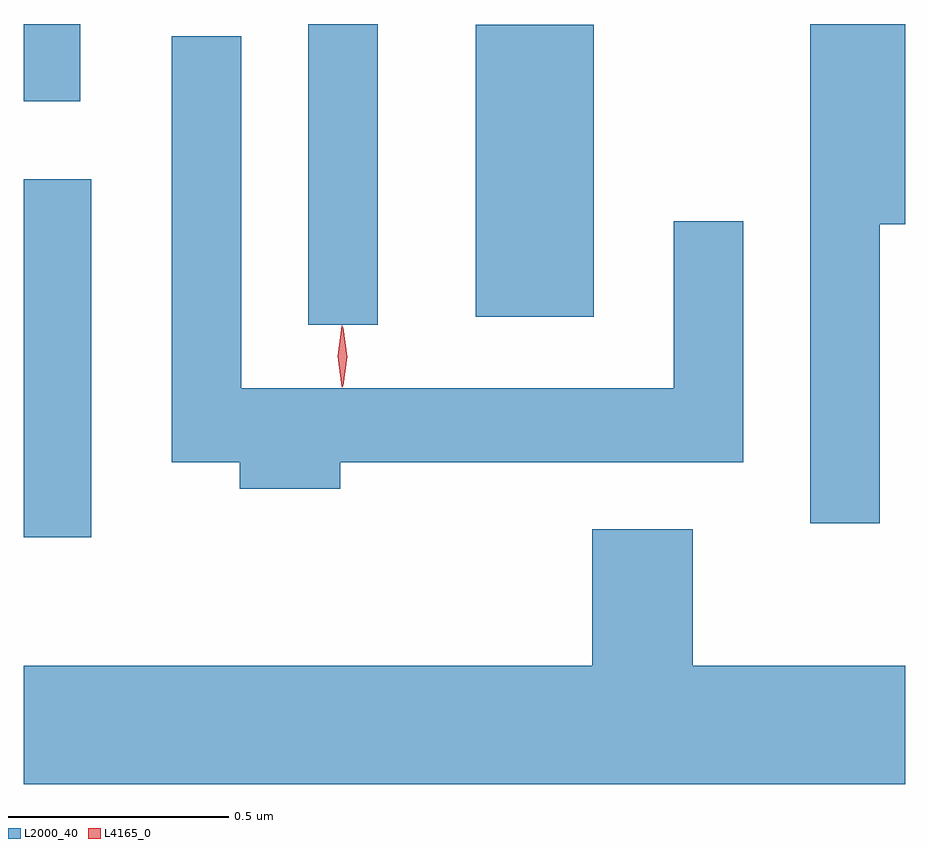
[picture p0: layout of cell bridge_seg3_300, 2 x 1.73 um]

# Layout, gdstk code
import gdstk
lib = gdstk.Library(unit=1e-6, precision=1e-09)
def R(c, l, rs):  # rectangles x0, y0, x1, y1
    for r in rs: c.add(gdstk.rectangle(r[:2], r[2:], *l))
def P(c, l, *ps):  # polygons
    for p in ps: c.add(gdstk.Polygon(p, *l))
L2000_40 = (2000, 40)
L4165_0 = (4165, 0)

bridge_seg3_300 = lib.new_cell('bridge_seg3_300')
R(bridge_seg3_300, L2000_40, [(1062.641,1117.696,1062.794,1118.509), (1063.286,1118.178,1063.444,1118.861), (1063.666,1118.196,1063.934,1118.859), (1062.641,1118.686,1062.769,1118.861)])
P(bridge_seg3_300, L2000_40, [(1064.584,1118.406),(1064.641,1118.406),(1064.641,1118.861),(1064.426,1118.861),(1064.426,1117.728),(1064.584,1117.728)],
  [(1063.359,1117.866),(1064.274,1117.866),(1064.274,1118.413),(1064.116,1118.413),(1064.116,1118.034),(1063.134,1118.034),(1063.134,1118.833),(1062.976,1118.833),(1062.976,1117.866),(1063.131,1117.866),(1063.131,1117.806),(1063.359,1117.806)],
  [(1064.641,1117.404),(1064.159,1117.404),(1064.159,1117.714),(1063.931,1117.714),(1063.931,1117.404),(1062.641,1117.404),(1062.641,1117.136),(1064.641,1117.136)])
P(bridge_seg3_300, L4165_0, [(1063.363,1118.037),(1063.362,1118.038),(1063.353,1118.107),(1063.362,1118.176),(1063.363,1118.176),(1063.363,1118.176),(1063.373,1118.107),(1063.363,1118.038)],
  [(1063.365,1118.039),(1063.365,1118.04),(1063.355,1118.106),(1063.365,1118.172),(1063.365,1118.173),(1063.366,1118.172),(1063.375,1118.106),(1063.366,1118.04)])

lib.write_gds('bridge_seg3_300.gds')
